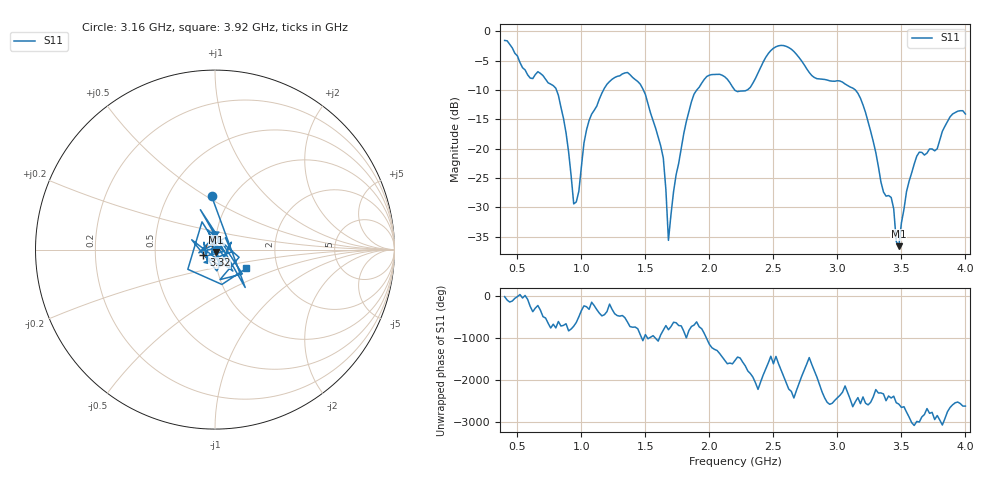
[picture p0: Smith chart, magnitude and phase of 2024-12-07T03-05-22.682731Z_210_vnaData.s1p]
!Created with skrf (http://scikit-rf.org).
# Hz S RI R 50.0
!freq ReS11 ImS11
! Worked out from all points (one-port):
!   181 points, 400 MHz to 4 GHz, reference 50 ohm
!   lowest |S11| = -36.6 dB at 3.48 GHz (marker M1), VSWR 1.03, Z = 50.7 - j1.32 ohm
!   |S11| at or under -10 dB: 805.4 MHz to 1.172 GHz (366.8 MHz wide, 37.1 % of centre); 1.485 GHz to 1.9 GHz (416 MHz wide, 24.6 % of centre); 3.142 GHz to end of sweep (the widest 3 of 4)
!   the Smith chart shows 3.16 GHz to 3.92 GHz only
!   S11 on the Smith chart (normalised r, x): 3.16 GHz: 0.81, +0.53; 3.32 GHz: 0.88, -0.05; 3.92 GHz: 1.38, -0.30
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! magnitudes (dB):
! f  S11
! 400 MHz  -1.5
! 800 MHz  -9.7
! 860 MHz  -14.8
! 940 MHz  -29.4
! 980 MHz  -27.2
! 1.06 GHz  -15.2
! 1.3 GHz  -7.6
! 1.46 GHz  -9.0
! 1.58 GHz  -16.5
! 1.64 GHz  -21.6
! 1.68 GHz  -35.6
! 1.76 GHz  -22.5
! 1.86 GHz  -12.0
! 1.96 GHz  -8.2
! 2.2 GHz  -10.0
! 2.32 GHz  -9.5
! 2.5 GHz  -2.9
! 2.66 GHz  -3.4
! 3.1 GHz  -9.5
! 3.16 GHz  -10.5
! 3.32 GHz  -23.0
! 3.42 GHz  -28.3
! 3.48 GHz  -36.6
! 3.56 GHz  -25.5
! 3.64 GHz  -20.6
! 3.78 GHz  -20.0
! 3.92 GHz  -13.8
! 4 GHz  -14.1
